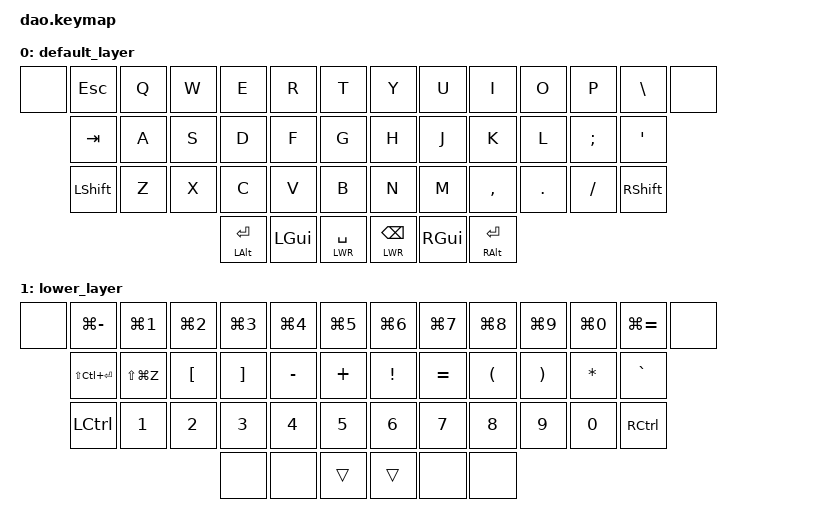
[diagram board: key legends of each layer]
/*
 * Copyright (c) 2021 Rafael Yumagulov
 *
 * SPDX-License-Identifier: MIT
 */

#include <behaviors.dtsi>
#include <dt-bindings/zmk/keys.h>
#include <dt-bindings/zmk/bt.h>

#define DEF 0
#define LWR 1
#define RSE 2
#define ADJ 3

&lt { quick_tap_ms = <200>; };
&mt { quick_tap_ms = <200>; };

/ {
        keymap {
                compatible = "zmk,keymap";


                default_layer {
                        bindings = <
  &none   &kp ESC      &kp Q    &kp W    &kp E           &kp R       &kp T              &kp Y             &kp U       &kp I          &kp O      &kp P       &kp BSLH      &none
          &kp TAB      &kp A    &kp S    &kp D           &kp F       &kp G              &kp H             &kp J       &kp K          &kp L      &kp SEMI    &kp SQT
          &kp LSHFT    &kp Z    &kp X    &kp C           &kp V       &kp B              &kp N             &kp M       &kp COMMA      &kp DOT    &kp FSLH    &kp RSHFT
                                         &mt LALT RET    &kp LGUI    &lt LWR SPACE      &lt LWR BSPC      &kp RGUI    &mt RALT RET
                        >;
                };

                lower_layer {
                        bindings = <
  &none   &kp LG(MINUS)      &kp LG(N1)       &kp LG(N2)     &kp LG(N3)     &kp LG(N4)     &kp LG(N5)     &kp LG(N6)     &kp LG(N7)     &kp LG(N8)     &kp LG(N9)     &kp LG(N0)     &kp LG(EQUAL)    &none
          &kp LS(LC(RET))    &kp LS(LG(Z))    &kp LBKT       &kp RBKT       &kp MINUS      &kp PLUS       &kp EXCL       &kp EQUAL      &kp LPAR       &kp RPAR       &kp STAR       &kp GRAVE
          &kp LCTRL          &kp N1           &kp N2         &kp N3         &kp N4         &kp N5         &kp N6         &kp N7         &kp N8         &kp N9         &kp N0         &kp RCTRL
                                                             &none          &none          &trans         &trans         &none          &none
                        >;
                };

/*

                raise_layer {
                        bindings = <
  &none   &none    &none          &kp LS(LC(RET))    &kp LA(E)    &kp LA(R)    &kp LA(T)     &none           &none          &none          &none          &none          &none    &none
          &none    &trans         &kp LA(S)          &kp LA(D)    &kp LA(F)    &kp LA(G)     &none           &none          &none          &none          &trans         &none
          &none    &none          &kp LA(X)          &kp LA(C)    &kp LA(V)    &kp LA(B)     &none           &none          &none          &none          &none          &none
                                                     &none        &none        &trans        &trans          &none          &none
                        >;
                };

                default_layer {
                        bindings = <
  &none   &mt LGUI RBKT     &kp Q   &kp W   &kp E         &kp R             &kp T         &kp Y         &kp U            &kp I         &kp O     &kp P      &kp LBKT        &none
          &mt LCTRL GRAVE   &kp A   &kp S   &kp D         &kp F             &kp G         &kp H         &kp J            &kp K         &kp L     &kp SEMI   &mt RCTRL SQT
          &mt LALT MINUS    &kp Z   &kp X   &kp C         &kp V             &kp B         &kp N         &kp M            &kp COMMA     &kp DOT   &kp FSLH   &mt RALT BSLH
                                            &lt RSE TAB   &mt LSHFT SPACE   &lt LWR RET   &lt LWR ESC   &mt RSHFT BSPC   &lt RSE DEL
                        >;
                };


                lower_layer {
                        bindings = <
  &none   &mt LGUI F1      &kp F2     &kp F3   &kp F4        &kp F5     &kp F6      &kp F7      &kp F8     &kp F9        &kp F10    &kp F11    &kp F12           &none
          &mt LCTRL PLUS   &kp EXCL   &kp AT   &kp HASH      &kp DLLR   &kp PRCNT   &kp CARET   &kp AMPS   &kp STAR      &kp LPAR   &kp RPAR   &mt RCTRL MINUS
          &mt LALT EQUAL   &kp N1     &kp N2   &kp N3        &kp N4     &kp N5      &kp N6      &kp N7     &kp N8        &kp N9     &kp N0     &kp RALT
                                               &lt ADJ TAB   &trans     &trans      &trans      &trans     &lt ADJ DEL
                        >;
                };

                raise_layer {
                        bindings = <
  &none   &mt LGUI KP_NUM   &kp KP_SLASH      &kp KP_N7   &kp KP_N8   &kp KP_N9   &kp KP_MINUS   &kp C_VOL_UP   &kp HOME   &kp PSCRN   &kp PG_UP   &kp SLCK          &kp CLCK           &none
          &mt LCTRL EQUAL   &kp KP_MULTIPLY   &kp KP_N4   &kp KP_N5   &kp KP_N6   &kp KP_PLUS    &kp C_MUTE     &kp LEFT   &kp UP      &kp RIGHT   &kp INS           &mt RCTRL  K_APP
          &kp LALT          &kp KP_N0         &kp KP_N1   &kp KP_N2   &kp KP_N3   &kp KP_DOT     &kp C_VOL_DN   &kp END    &kp DOWN    &kp PG_DN   &kp PAUSE_BREAK   &kp RALT
                                                          &trans      &trans      &lt ADJ RET    &lt ADJ ESC    &trans     &trans
                        >;
                };
                adjust_layer {
                        bindings = <
  &none   &bootloader   &none          &none          &none          &none          &none          &none          &none          &none          &none          &none          &bootloader   &none
          &bt BT_CLR    &bt BT_SEL 0   &bt BT_SEL 1   &bt BT_SEL 2   &bt BT_SEL 3   &bt BT_SEL 4   &bt BT_SEL 4   &bt BT_SEL 3   &bt BT_SEL 2   &bt BT_SEL 1   &bt BT_SEL 0   &bt BT_CLR
          &reset        &none          &none          &none          &none          &none          &none          &none          &none          &none          &none          &reset
                                                      &trans         &none          &trans         &none          &trans         &trans
                        >;
                };
*/

        };
};
